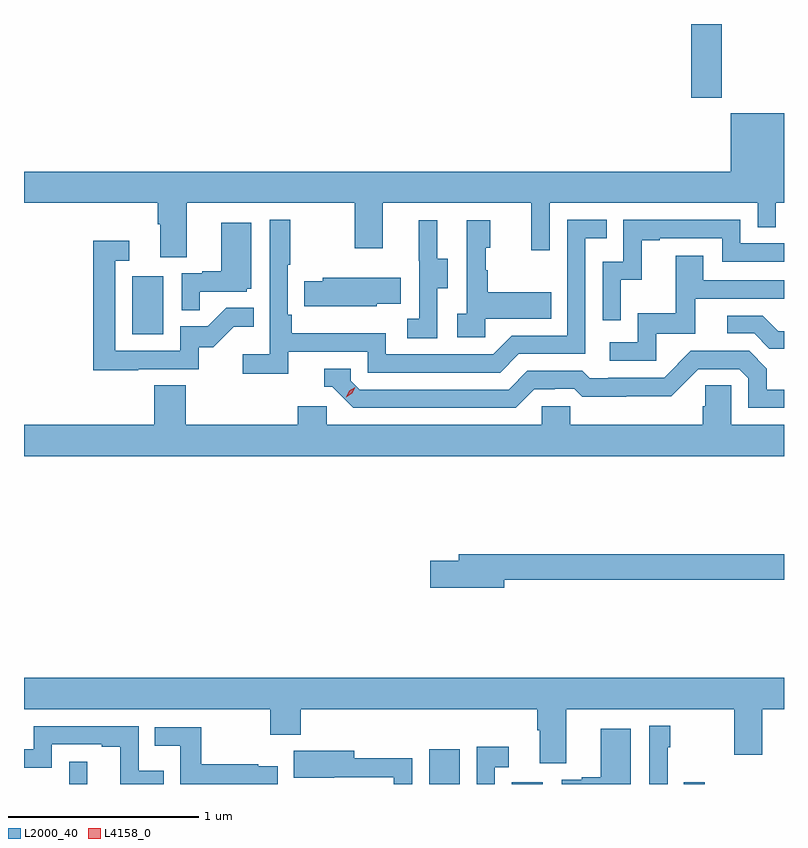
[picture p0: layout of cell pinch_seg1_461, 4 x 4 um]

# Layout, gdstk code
import gdstk
lib = gdstk.Library(unit=1e-6, precision=1e-09)
def R(c, l, rs):  # rectangles x0, y0, x1, y1
    for r in rs: c.add(gdstk.rectangle(r[:2], r[2:], *l))
def P(c, l, *ps):  # polygons
    for p in ps: c.add(gdstk.Polygon(p, *l))
L2000_40 = (2000, 40)
L4158_0 = (4158, 0)

pinch_seg1_461 = lib.new_cell('pinch_seg1_461')
R(pinch_seg1_461, L2000_40, [(985.944,512.71,986.041,512.827), (987.839,512.71,988,512.893), (988.274,512.71,988.438,512.719), (989.179,512.71,989.29,512.718), (986.276,515.076,986.44,515.383), (989.219,516.321,989.379,516.71)])
P(pinch_seg1_461, L2000_40, [(986.563,515.768),(987.448,515.768),(987.448,515.529),(987.595,515.529),(987.595,515.768),(988.376,515.768),(988.376,515.52),(988.473,515.52),(988.473,515.768),(989.568,515.768),(989.568,515.641),(989.664,515.641),(989.664,515.768),(989.707,515.768),(989.707,516.241),(989.426,516.241),(989.426,515.932),(985.707,515.932),(985.707,515.768),(986.411,515.768),(986.411,515.656),(986.423,515.656),(986.423,515.482),(986.563,515.482)],
  [(987.098,514.986),(987.516,514.986),(987.516,514.875),(988.213,514.875),(988.312,514.974),(988.662,514.974),(988.662,515.583),(988.775,515.583),(988.775,515.679),(988.566,515.679),(988.566,515.07),(988.275,515.07),(988.176,514.971),(987.612,514.971),(987.612,515.083),(987.115,515.083),(987.115,515.179),(987.096,515.179),(987.096,515.443),(987.109,515.443),(987.109,515.68),(987,515.68),(987,514.972),(986.859,514.972),(986.859,514.87),(987.098,514.87)],
  [(988.848,515.363),(988.958,515.363),(988.958,515.571),(989.053,515.571),(989.053,515.583),(989.382,515.583),(989.382,515.46),(989.707,515.46),(989.707,515.556),(989.478,515.556),(989.478,515.679),(988.86,515.679),(988.86,515.46),(988.752,515.46),(988.752,515.151),(988.848,515.151)],
  [(987.882,515.32),(987.937,515.32),(987.937,515.475),(987.883,515.475),(987.883,515.677),(987.785,515.677),(987.785,515.463),(987.786,515.463),(987.786,515.159),(987.723,515.159),(987.723,515.056),(987.882,515.056)],
  [(988.134,515.159),(988.481,515.159),(988.481,515.299),(988.147,515.299),(988.147,515.414),(988.137,515.414),(988.137,515.532),(988.162,515.532),(988.162,515.677),(988.038,515.677),(988.038,515.186),(987.987,515.186),(987.987,515.061),(988.134,515.061)],
  [(986.633,515.301),(986.88,515.301),(986.88,515.316),(986.902,515.316),(986.902,515.665),(986.744,515.665),(986.744,515.41),(986.645,515.41),(986.645,515.397),(986.538,515.397),(986.538,515.203),(986.633,515.203)],
  [(986.309,514.893),(986.628,514.893),(986.628,515.01),(986.704,515.01),(986.811,515.117),(986.915,515.117),(986.915,515.216),(986.771,515.216),(986.673,515.118),(986.529,515.118),(986.529,514.989),(986.187,514.989),(986.187,515.463),(986.26,515.463),(986.26,515.569),(986.071,515.569),(986.071,514.888),(986.309,514.888)],
  [(989.034,515.079),(989.239,515.079),(989.239,515.265),(989.707,515.265),(989.707,515.361),(989.281,515.361),(989.281,515.491),(989.137,515.491),(989.137,515.188),(988.938,515.188),(988.938,515.034),(988.791,515.034),(988.791,514.938),(989.034,514.938)],
  [(987.564,515.237),(987.689,515.237),(987.689,515.374),(987.279,515.374),(987.279,515.355),(987.181,515.355),(987.181,515.225),(987.564,515.225)],
  [(989.707,515.094),(989.677,515.094),(989.596,515.175),(989.409,515.175),(989.409,515.082),(989.55,515.082),(989.63,515.002),(989.707,515.002)],
  [(988.393,514.788),(988.5,514.788),(988.5,514.791),(988.603,514.791),(988.645,514.749),(988.878,514.749),(988.878,514.751),(989.114,514.751),(989.256,514.893),(989.472,514.893),(989.52,514.845),(989.52,514.689),(989.707,514.689),(989.707,514.785),(989.617,514.785),(989.617,514.895),(989.523,514.989),(989.217,514.989),(989.076,514.848),(988.783,514.848),(988.783,514.845),(988.684,514.845),(988.645,514.884),(988.356,514.884),(988.257,514.785),(987.474,514.785),(987.426,514.833),(987.426,514.896),(987.287,514.896),(987.287,514.8),(987.33,514.8),(987.441,514.689),(988.294,514.689)],
  [(989.707,514.6),(989.43,514.6),(989.43,514.808),(989.293,514.808),(989.293,514.698),(989.279,514.698),(989.279,514.6),(988.581,514.6),(988.581,514.698),(988.431,514.698),(988.431,514.6),(987.3,514.6),(987.3,514.698),(987.149,514.698),(987.149,514.6),(986.558,514.6),(986.558,514.808),(986.393,514.808),(986.393,514.6),(985.707,514.6),(985.707,514.436),(989.707,514.436)],
  [(988.234,513.784),(989.707,513.784),(989.707,513.92),(987.995,513.92),(987.995,513.884),(987.846,513.884),(987.846,513.742),(988.234,513.742)],
  [(988.561,513.104),(989.446,513.104),(989.446,512.865),(989.593,512.865),(989.593,513.104),(989.707,513.104),(989.707,513.268),(985.707,513.268),(985.707,513.104),(987.004,513.104),(987.004,512.969),(987.164,512.969),(987.164,513.104),(988.409,513.104),(988.409,512.992),(988.421,512.992),(988.421,512.818),(988.561,512.818)],
  [(989.094,512.903),(989.107,512.903),(989.107,513.016),(988.998,513.016),(988.998,512.71),(989.094,512.71)],
  [(986.442,512.779),(986.31,512.779),(986.31,513.015),(985.758,513.015),(985.758,512.892),(985.707,512.892),(985.707,512.796),(985.854,512.796),(985.854,512.919),(986.117,512.919),(986.117,512.907),(986.213,512.907),(986.213,512.71),(986.442,512.71)],
  [(987.042,512.803),(986.939,512.803),(986.939,512.815),(986.641,512.815),(986.641,513.009),(986.395,513.009),(986.395,512.912),(986.53,512.912),(986.53,512.71),(987.042,512.71)],
  [(988.9,513.001),(988.742,513.001),(988.742,512.746),(988.643,512.746),(988.643,512.733),(988.536,512.733),(988.536,512.71),(988.9,512.71)],
  [(988.185,512.799),(988.258,512.799),(988.258,512.905),(988.089,512.905),(988.089,512.71),(988.185,512.71)],
  [(987.75,512.846),(987.445,512.846),(987.445,512.884),(987.127,512.884),(987.127,512.744),(987.341,512.744),(987.341,512.745),(987.654,512.745),(987.654,512.71),(987.75,512.71)])
P(pinch_seg1_461, L4158_0, [(987.403,514.746),(987.403,514.747),(987.419,514.779),(987.45,514.799),(987.45,514.799),(987.45,514.798),(987.434,514.766),(987.404,514.746)])

lib.write_gds('pinch_seg1_461.gds')
